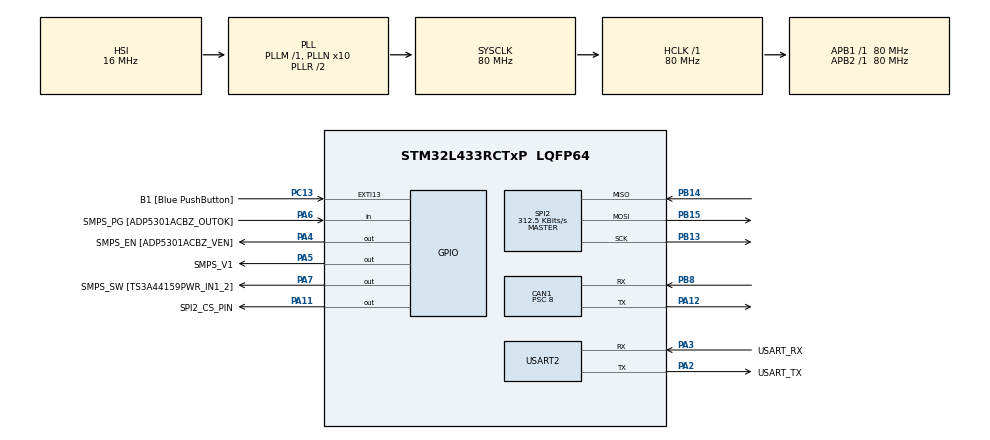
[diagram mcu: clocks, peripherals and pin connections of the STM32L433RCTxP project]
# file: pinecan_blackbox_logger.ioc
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CAN1.ABOM=ENABLE
CAN1.BS1=CAN_BS1_7TQ
CAN1.BS2=CAN_BS2_2TQ
CAN1.CalculateBaudRate=1000000
CAN1.CalculateTimeBit=1000
CAN1.CalculateTimeQuantum=100.0
CAN1.NART=ENABLE
CAN1.Prescaler=8
FATFS._FS_EXFAT=1
FATFS._FS_TINY=1
FATFS._USE_LFN=2
Mcu.Family=STM32L4
Mcu.Name=STM32L433RCTxP
Mcu.Package=LQFP64
NVIC.CAN1_RX0_IRQn=true\:0\:0\:false\:false\:true\:true\:true\:true
NVIC.PriorityGroup=NVIC_PRIORITYGROUP_4
PA11.GPIO_Label=SPI2_CS_PIN
PA11.Signal=GPIO_Output
PA12.Mode=CAN_Activate
PA12.Signal=CAN1_TX
PA13\ (JTMS-SWDIO).GPIO_Label=TMS
PA13\ (JTMS-SWDIO).Mode=Serial_Wire
PA13\ (JTMS-SWDIO).Signal=SYS_JTMS-SWDIO
PA14\ (JTCK-SWCLK).GPIO_Label=TCK
PA14\ (JTCK-SWCLK).Mode=Serial_Wire
PA14\ (JTCK-SWCLK).Signal=SYS_JTCK-SWCLK
PA2.GPIO_Label=USART_TX
PA2.GPIO_Mode=GPIO_MODE_AF_PP
PA2.GPIO_PuPd=GPIO_NOPULL
PA2.GPIO_Speed=GPIO_SPEED_FREQ_VERY_HIGH
PA2.Mode=Asynchronous
PA2.Signal=USART2_TX
PA3.GPIO_Label=USART_RX
PA3.GPIO_Mode=GPIO_MODE_AF_PP
PA3.GPIO_PuPd=GPIO_NOPULL
PA3.GPIO_Speed=GPIO_SPEED_FREQ_VERY_HIGH
PA3.Mode=Asynchronous
PA3.Signal=USART2_RX
PA4.GPIO_Label=SMPS_EN [ADP5301ACBZ_VEN]
PA4.Signal=GPIO_Output
PA5.GPIO_Label=SMPS_V1
PA5.GPIO_ModeDefaultOutputPP=GPIO_MODE_OUTPUT_PP
PA5.GPIO_PuPd=GPIO_NOPULL
PA5.GPIO_Speed=GPIO_SPEED_FREQ_LOW
PA5.Signal=GPIO_Output
PA6.GPIO_Label=SMPS_PG [ADP5301ACBZ_OUTOK]
PA6.GPIO_PuPd=GPIO_PULLUP
PA6.Signal=GPIO_Input
PA7.GPIO_Label=SMPS_SW [TS3A44159PWR_IN1_2]
PA7.Signal=GPIO_Output
PB13.Mode=Full_Duplex_Master
PB13.Signal=SPI2_SCK
PB14.Mode=Full_Duplex_Master
PB14.Signal=SPI2_MISO
PB15.Mode=Full_Duplex_Master
PB15.Signal=SPI2_MOSI
PB3\ (JTDO-TRACESWO).GPIO_Label=SWO
PB3\ (JTDO-TRACESWO).Signal=SYS_JTDO-SWO
PB8.Mode=CAN_Activate
PB8.Signal=CAN1_RX
PC13.GPIO_Label=B1 [Blue PushButton]
PC13.GPIO_ModeDefaultEXTI=GPIO_MODE_IT_FALLING
PC13.GPIO_PuPd=GPIO_NOPULL
PC13.Signal=GPXTI13
PC14-OSC32_IN\ (PC14).Mode=LSE-External-Oscillator
PC14-OSC32_IN\ (PC14).Signal=RCC_OSC32_IN
PC15-OSC32_OUT\ (PC15).Mode=LSE-External-Oscillator
PC15-OSC32_OUT\ (PC15).Signal=RCC_OSC32_OUT
PH0-OSC_IN\ (PH0).GPIO_Label=MCO
PH0-OSC_IN\ (PH0).Mode=HSE-External-Clock-Source
PH0-OSC_IN\ (PH0).Signal=RCC_OSC_IN
PH1-OSC_OUT\ (PH1).Signal=RCC_OSC_OUT
ProjectManager.HeapSize=0x200
ProjectManager.StackSize=0x400
ProjectManager.TargetToolchain=CMake
RCC.ADCFreq_Value=64000000
RCC.AHBFreq_Value=80000000
RCC.APB1Freq_Value=80000000
RCC.APB1TimFreq_Value=80000000
RCC.APB2Freq_Value=80000000
RCC.APB2TimFreq_Value=80000000
RCC.CortexFreq_Value=80000000
RCC.HCLKFreq_Value=80000000
RCC.HSE_VALUE=8000000
RCC.HSI48_VALUE=48000000
RCC.HSI_VALUE=16000000
RCC.MSI_VALUE=4000000
RCC.PLLN=10
RCC.PLLSourceVirtual=RCC_PLLSOURCE_HSI
RCC.PREFETCH_ENABLE=1
RCC.SYSCLKFreq_VALUE=80000000
RCC.SYSCLKSource=RCC_SYSCLKSOURCE_PLLCLK
RCC.USBFreq_Value=64000000
RCC.VCOOutputFreq_Value=160000000
SPI2.BaudRatePrescaler=SPI_BAUDRATEPRESCALER_256
SPI2.CalculateBaudRate=312.5 KBits/s
SPI2.DataSize=SPI_DATASIZE_8BIT
SPI2.Direction=SPI_DIRECTION_2LINES
SPI2.Mode=SPI_MODE_MASTER
SPI2.VirtualType=VM_MASTER
USART2.VirtualMode-Asynchronous=VM_ASYNC
VP_FATFS_VS_Generic.Mode=User_defined
board=NUCLEO-L433RC-P

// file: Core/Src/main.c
/* USER CODE BEGIN Header */
/**
  ******************************************************************************
  * @file           : main.c
  * @brief          : Main program body
  ******************************************************************************
  * @attention
  *
  * Copyright (c) 2026 STMicroelectronics.
  * All rights reserved.
  *
  * This software is licensed under terms that can be found in the LICENSE file
  * in the root directory of this software component.
  * If no LICENSE file comes with this software, it is provided AS-IS.
  *
  ******************************************************************************
  */
/* USER CODE END Header */
#include "main.h"
#include "fatfs.h"

/* USER CODE BEGIN Includes */
#include "blackbox_logger.h"
#include "can_receiver.h"
#include <stdint.h>

/* USER CODE END Includes */

/* USER CODE BEGIN PTD */

// FOR FUTURE: Could use g_fault_code to output viewable codes (LED blinks or something like that)
static volatile FaultCode g_fault_code = FAULT_NONE;
static volatile bool g_runtime_fault = false;

typedef enum {
  CAN_TEST_NOT_RUN = 0,
  CAN_TEST_WAITING_FOR_RX,
  CAN_TEST_PASSED,
  CAN_TEST_INIT_FAILED,
  CAN_TEST_TX_FAILED,
  CAN_TEST_RX_TIMEOUT,
  CAN_TEST_SD_FAILED
} CanTestStatus;

static volatile CanTestStatus g_can_test_status = CAN_TEST_NOT_RUN;

/* USER CODE END PTD */

/* USER CODE BEGIN PD */
#define CAN_TEST_TIMEOUT_MS 1000U

/* USER CODE END PD */

CAN_HandleTypeDef hcan1;

SPI_HandleTypeDef hspi2;

UART_HandleTypeDef huart2;

void SystemClock_Config(void);
static void MX_GPIO_Init(void);
static void MX_USART2_UART_Init(void);
static void MX_SPI2_Init(void);
static void MX_CAN1_Init(void);
/* USER CODE BEGIN PFP */
static void Recoverable_ErrorHandler(FaultCode fault);
void HAL_CAN_RxFifo0MsgPendingCallback(CAN_HandleTypeDef *hcan);
/* USER CODE END PFP */

int main(void)
{

  /* MCU Configuration--------------------------------------------------------*/

  /* Reset of all peripherals, Initializes the Flash interface and the Systick. */
  HAL_Init();

  /* Configure the system clock */
  SystemClock_Config();

  /* Initialize all configured peripherals */
  MX_GPIO_Init();
  MX_USART2_UART_Init();
  MX_SPI2_Init();
  MX_FATFS_Init();
  MX_CAN1_Init();
  /* USER CODE BEGIN 2 */

  if (!BlackboxLogger_Init("blackbox.bin")) {
    g_can_test_status = CAN_TEST_INIT_FAILED;
    Error_Handler();
  }

  if (!CanReceiver_Init()) {
    g_can_test_status = CAN_TEST_INIT_FAILED;
    Error_Handler();
  }

  /* Handle the simulated FIFO frame explicitly in this one-shot test. */
  if (HAL_CAN_DeactivateNotification(&hcan1,
        CAN_IT_RX_FIFO0_MSG_PENDING | CAN_IT_RX_FIFO0_FULL) != HAL_OK) {
    g_can_test_status = CAN_TEST_INIT_FAILED;
    Error_Handler();
  }
  /* USER CODE END 2 */

  /* Infinite loop */
  /* USER CODE BEGIN WHILE */
  uint8_t test_data[8] = {0x43, 0x41, 0x4E, 0x2D,
                          0x54, 0x45, 0x53, 0x54}; /* CAN-TEST */
  CAN_TxHeaderTypeDef test_header = {0};
  uint32_t tx_mailbox;
  uint32_t started;

  test_header.StdId = 0x321U;
  test_header.IDE = CAN_ID_STD;
  test_header.RTR = CAN_RTR_DATA;
  test_header.DLC = sizeof(test_data);

  g_can_test_status = CAN_TEST_WAITING_FOR_RX;
  if (HAL_CAN_AddTxMessage(&hcan1, &test_header, test_data,
                           &tx_mailbox) != HAL_OK) {
    g_can_test_status = CAN_TEST_TX_FAILED;
  } else {
    started = HAL_GetTick();
    while (HAL_CAN_GetRxFifoFillLevel(&hcan1, CAN_RX_FIFO0) == 0U &&
           (uint32_t)(HAL_GetTick() - started) < CAN_TEST_TIMEOUT_MS) {
    }

    if (HAL_CAN_GetRxFifoFillLevel(&hcan1, CAN_RX_FIFO0) == 0U) {
      g_can_test_status = CAN_TEST_RX_TIMEOUT;
    } else {
      /* The callback reads FIFO0 and pushes that received frame into a buffer. */
      HAL_CAN_RxFifo0MsgPendingCallback(&hcan1);

      /* Service writes ready buffers; Flush writes this partial test buffer
       * and synchronizes blackbox.bin to the SD card. */
      BlackboxLogger_Service();
      if (!BlackboxLogger_Flush() ||
          BlackboxLogger_HasStorageError() ||
          BlackboxLogger_GetDroppedRecordCount() != 0U) {
        g_can_test_status = CAN_TEST_SD_FAILED;
      } else {
        g_can_test_status = CAN_TEST_PASSED;
      }
    }
  }

  while (1)
  {
    if (BlackboxLogger_HasStorageError() && !g_runtime_fault) {
      Recoverable_ErrorHandler(FAULT_STORAGE);
    }
    /* USER CODE END WHILE */

  }
}

void SystemClock_Config(void)
{
  RCC_OscInitTypeDef RCC_OscInitStruct = {0};
  RCC_ClkInitTypeDef RCC_ClkInitStruct = {0};

  /** Configure the main internal regulator output voltage
  */
  if (HAL_PWREx_ControlVoltageScaling(PWR_REGULATOR_VOLTAGE_SCALE1) != HAL_OK)
  {
    Error_Handler();
  }

  /** Initializes the RCC Oscillators according to the specified parameters
  * in the RCC_OscInitTypeDef structure.
  */
  RCC_OscInitStruct.OscillatorType = RCC_OSCILLATORTYPE_HSI;
  RCC_OscInitStruct.HSIState = RCC_HSI_ON;
  RCC_OscInitStruct.HSICalibrationValue = RCC_HSICALIBRATION_DEFAULT;
  RCC_OscInitStruct.PLL.PLLState = RCC_PLL_ON;
  RCC_OscInitStruct.PLL.PLLSource = RCC_PLLSOURCE_HSI;
  RCC_OscInitStruct.PLL.PLLM = 1;
  RCC_OscInitStruct.PLL.PLLN = 10;
  RCC_OscInitStruct.PLL.PLLP = RCC_PLLP_DIV7;
  RCC_OscInitStruct.PLL.PLLQ = RCC_PLLQ_DIV2;
  RCC_OscInitStruct.PLL.PLLR = RCC_PLLR_DIV2;
  if (HAL_RCC_OscConfig(&RCC_OscInitStruct) != HAL_OK)
  {
    Error_Handler();
  }

  /** Initializes the CPU, AHB and APB buses clocks
  */
  RCC_ClkInitStruct.ClockType = RCC_CLOCKTYPE_HCLK|RCC_CLOCKTYPE_SYSCLK
                              |RCC_CLOCKTYPE_PCLK1|RCC_CLOCKTYPE_PCLK2;
  RCC_ClkInitStruct.SYSCLKSource = RCC_SYSCLKSOURCE_PLLCLK;
  RCC_ClkInitStruct.AHBCLKDivider = RCC_SYSCLK_DIV1;
  RCC_ClkInitStruct.APB1CLKDivider = RCC_HCLK_DIV1;
  RCC_ClkInitStruct.APB2CLKDivider = RCC_HCLK_DIV1;

  if (HAL_RCC_ClockConfig(&RCC_ClkInitStruct, FLASH_LATENCY_4) != HAL_OK)
  {
    Error_Handler();
  }
}

static void MX_CAN1_Init(void)
{

  hcan1.Instance = CAN1;
  hcan1.Init.Prescaler = 8;
  hcan1.Init.Mode = CAN_MODE_LOOPBACK;
  hcan1.Init.SyncJumpWidth = CAN_SJW_1TQ;
  hcan1.Init.TimeSeg1 = CAN_BS1_7TQ;
  hcan1.Init.TimeSeg2 = CAN_BS2_2TQ;
  hcan1.Init.TimeTriggeredMode = DISABLE;
  hcan1.Init.AutoBusOff = ENABLE;
  hcan1.Init.AutoWakeUp = DISABLE;
  hcan1.Init.AutoRetransmission = ENABLE;
  hcan1.Init.ReceiveFifoLocked = DISABLE;
  hcan1.Init.TransmitFifoPriority = DISABLE;
  if (HAL_CAN_Init(&hcan1) != HAL_OK)
  {
    Error_Handler();
  }
}

static void MX_SPI2_Init(void)
{

  /* SPI2 parameter configuration*/
  hspi2.Instance = SPI2;
  hspi2.Init.Mode = SPI_MODE_MASTER;
  hspi2.Init.Direction = SPI_DIRECTION_2LINES;
  hspi2.Init.DataSize = SPI_DATASIZE_8BIT;
  hspi2.Init.CLKPolarity = SPI_POLARITY_LOW;
  hspi2.Init.CLKPhase = SPI_PHASE_1EDGE;
  hspi2.Init.NSS = SPI_NSS_SOFT;
  hspi2.Init.BaudRatePrescaler = SPI_BAUDRATEPRESCALER_256;
  hspi2.Init.FirstBit = SPI_FIRSTBIT_MSB;
  hspi2.Init.TIMode = SPI_TIMODE_DISABLE;
  hspi2.Init.CRCCalculation = SPI_CRCCALCULATION_DISABLE;
  hspi2.Init.CRCPolynomial = 7;
  hspi2.Init.CRCLength = SPI_CRC_LENGTH_DATASIZE;
  hspi2.Init.NSSPMode = SPI_NSS_PULSE_ENABLE;
  if (HAL_SPI_Init(&hspi2) != HAL_OK)
  {
    Error_Handler();
  }

}

static void MX_USART2_UART_Init(void)
{

  huart2.Instance = USART2;
  huart2.Init.BaudRate = 115200;
  huart2.Init.WordLength = UART_WORDLENGTH_8B;
  huart2.Init.StopBits = UART_STOPBITS_1;
  huart2.Init.Parity = UART_PARITY_NONE;
  huart2.Init.Mode = UART_MODE_TX_RX;
  huart2.Init.HwFlowCtl = UART_HWCONTROL_NONE;
  huart2.Init.OverSampling = UART_OVERSAMPLING_16;
  huart2.Init.OneBitSampling = UART_ONE_BIT_SAMPLE_DISABLE;
  huart2.AdvancedInit.AdvFeatureInit = UART_ADVFEATURE_NO_INIT;
  if (HAL_UART_Init(&huart2) != HAL_OK)
  {
    Error_Handler();
  }

}

static void MX_GPIO_Init(void)
{
  GPIO_InitTypeDef GPIO_InitStruct = {0};

  /* GPIO Ports Clock Enable */
  __HAL_RCC_GPIOC_CLK_ENABLE();
  __HAL_RCC_GPIOH_CLK_ENABLE();
  __HAL_RCC_GPIOA_CLK_ENABLE();
  __HAL_RCC_GPIOB_CLK_ENABLE();

  /*Configure GPIO pin Output Level */
  HAL_GPIO_WritePin(GPIOA, SMPS_EN_Pin|SMPS_V1_Pin|SMPS_SW_Pin|SPI2_CS_PIN_Pin, GPIO_PIN_RESET);

  /*Configure GPIO pin : B1_Pin */
  GPIO_InitStruct.Pin = B1_Pin;
  GPIO_InitStruct.Mode = GPIO_MODE_IT_FALLING;
  GPIO_InitStruct.Pull = GPIO_NOPULL;
  HAL_GPIO_Init(B1_GPIO_Port, &GPIO_InitStruct);

  /*Configure GPIO pins : SMPS_EN_Pin SMPS_V1_Pin SMPS_SW_Pin SPI2_CS_PIN_Pin */
  GPIO_InitStruct.Pin = SMPS_EN_Pin|SMPS_V1_Pin|SMPS_SW_Pin|SPI2_CS_PIN_Pin;
  GPIO_InitStruct.Mode = GPIO_MODE_OUTPUT_PP;
  GPIO_InitStruct.Pull = GPIO_NOPULL;
  GPIO_InitStruct.Speed = GPIO_SPEED_FREQ_LOW;
  HAL_GPIO_Init(GPIOA, &GPIO_InitStruct);

  /*Configure GPIO pin : SMPS_PG_Pin */
  GPIO_InitStruct.Pin = SMPS_PG_Pin;
  GPIO_InitStruct.Mode = GPIO_MODE_INPUT;
  GPIO_InitStruct.Pull = GPIO_PULLUP;
  HAL_GPIO_Init(SMPS_PG_GPIO_Port, &GPIO_InitStruct);

  /* USER CODE BEGIN MX_GPIO_Init_2 */
  HAL_GPIO_WritePin(SPI2_CS_PIN_GPIO_Port, SPI2_CS_PIN_Pin, GPIO_PIN_SET);
  /* USER CODE END MX_GPIO_Init_2 */
}

/* USER CODE BEGIN 4 */

/**
  * @brief  Records a recoverable runtime fault without stopping the MCU.
  * @param  fault Fault code to record.
  * @retval None
  */
static void Recoverable_ErrorHandler(FaultCode fault)
{
  g_fault_code = fault;
  g_runtime_fault = true;
}

/* USER CODE END 4 */

void Error_Handler(void)
{
  /* USER CODE BEGIN Error_Handler_Debug */
  /* User can add his own implementation to report the HAL error return state */
  // Temp value
  // Later we can add more definitions to the enum to specify errors/faults
  g_fault_code = FAULT_STARTUP;
  __disable_irq();
  while (1)
  {
  }
  /* USER CODE END Error_Handler_Debug */
}
